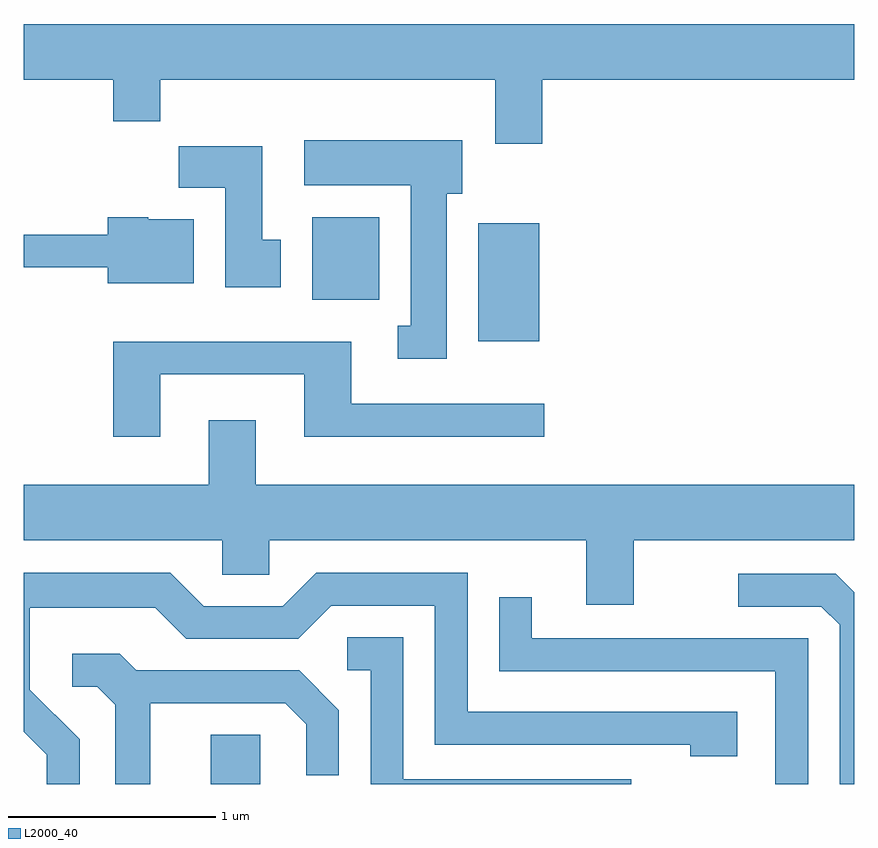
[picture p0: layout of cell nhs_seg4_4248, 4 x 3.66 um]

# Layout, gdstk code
import gdstk
lib = gdstk.Library(unit=1e-6, precision=1e-09)
def R(c, l, rs):  # rectangles x0, y0, x1, y1
    for r in rs: c.add(gdstk.rectangle(r[:2], r[2:], *l))
def P(c, l, *ps):  # polygons
    for p in ps: c.add(gdstk.Polygon(p, *l))
L2000_40 = (2000, 40)

nhs_seg4_4248 = lib.new_cell('nhs_seg4_4248')
R(nhs_seg4_4248, L2000_40, [(310.511,1317.982,310.749,1318.219), (311.801,1320.116,312.094,1320.684), (311.001,1320.316,311.324,1320.714)])
P(nhs_seg4_4248, L2000_40, [(312.109,1321.376),(313.611,1321.376),(313.611,1321.644),(309.611,1321.644),(309.611,1321.376),(310.041,1321.376),(310.041,1321.176),(310.269,1321.176),(310.269,1321.376),(311.881,1321.376),(311.881,1321.066),(312.109,1321.066)],
  [(311.649,1320.826),(311.724,1320.826),(311.724,1321.084),(310.961,1321.084),(310.961,1320.866),(311.476,1320.866),(311.476,1320.189),(311.413,1320.189),(311.413,1320.031),(311.649,1320.031)],
  [(310.849,1320.604),(310.759,1320.604),(310.759,1321.054),(310.356,1321.054),(310.356,1320.856),(310.581,1320.856),(310.581,1320.376),(310.849,1320.376)],
  [(310.429,1320.704),(310.21,1320.704),(310.21,1320.714),(310.016,1320.714),(310.016,1320.629),(309.611,1320.629),(309.611,1320.471),(310.016,1320.471),(310.016,1320.396),(310.429,1320.396)],
  [(310.269,1319.956),(310.961,1319.956),(310.961,1319.656),(312.118,1319.656),(312.118,1319.814),(311.189,1319.814),(311.189,1320.114),(310.041,1320.114),(310.041,1319.656),(310.269,1319.656)],
  [(312.549,1319.156),(313.611,1319.156),(313.611,1319.424),(310.729,1319.424),(310.729,1319.734),(310.501,1319.734),(310.501,1319.424),(309.611,1319.424),(309.611,1319.156),(310.566,1319.156),(310.566,1318.991),(310.794,1318.991),(310.794,1319.156),(312.321,1319.156),(312.321,1318.846),(312.549,1318.846)],
  [(309.879,1318.197),(309.639,1318.437),(309.639,1318.831),(310.244,1318.831),(310.394,1318.681),(310.932,1318.681),(311.092,1318.841),(311.591,1318.841),(311.591,1318.171),(312.821,1318.171),(312.821,1318.116),(313.049,1318.116),(313.049,1318.329),(311.749,1318.329),(311.749,1318.999),(311.019,1318.999),(310.859,1318.839),(310.477,1318.839),(310.317,1318.999),(309.611,1318.999),(309.611,1318.234),(309.721,1318.124),(309.721,1317.982),(309.879,1317.982)],
  [(313.611,1318.905),(313.522,1318.994),(313.053,1318.994),(313.053,1318.836),(313.454,1318.836),(313.541,1318.749),(313.541,1317.982),(313.611,1317.982)],
  [(313.389,1318.684),(312.059,1318.684),(312.059,1318.883),(311.901,1318.883),(311.901,1318.526),(313.231,1318.526),(313.231,1317.982),(313.389,1317.982)],
  [(312.538,1318.004),(311.439,1318.004),(311.439,1318.689),(311.168,1318.689),(311.168,1318.531),(311.281,1318.531),(311.281,1317.982),(312.538,1317.982)],
  [(310.219,1318.371),(310.869,1318.371),(310.971,1318.269),(310.971,1318.023),(311.129,1318.023),(311.129,1318.337),(310.937,1318.529),(310.152,1318.529),(310.072,1318.609),(309.843,1318.609),(309.843,1318.451),(309.964,1318.451),(310.051,1318.364),(310.051,1317.982),(310.219,1317.982)])

lib.write_gds('nhs_seg4_4248.gds')
